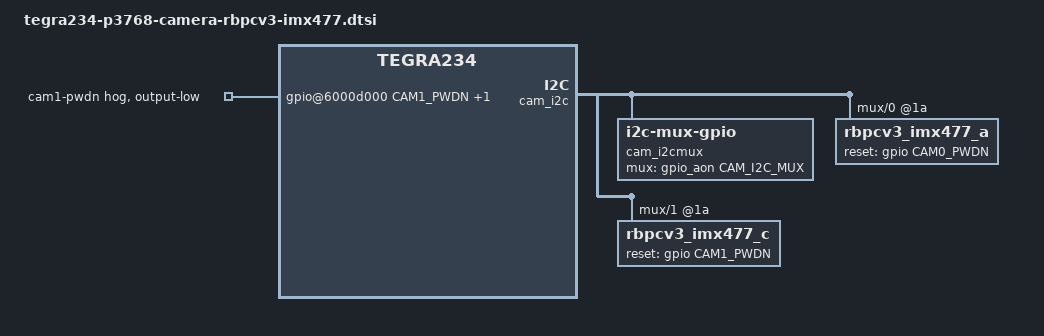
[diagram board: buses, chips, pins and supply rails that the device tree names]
// SPDX-License-Identifier: GPL-2.0-only
// Copyright (c) 2023, NVIDIA CORPORATION & AFFILIATES. All rights reserved.

#include "tegra234-camera-rbpcv3-imx477.dtsi"
#define CAM0_PWDN	TEGRA234_MAIN_GPIO(H, 6)
#define CAM1_PWDN	TEGRA234_MAIN_GPIO(AC, 0)
#define CAM_I2C_MUX 	TEGRA234_AON_GPIO(CC, 3)

/ {
	fragment-camera-imx477@0 {
		target-path = "/";
		__overlay__ {
			bus@0 {
				cam_i2cmux {
					status = "okay";
					compatible = "i2c-mux-gpio";
					#address-cells = <1>;
					#size-cells = <0>;
					mux-gpios = <&gpio_aon CAM_I2C_MUX GPIO_ACTIVE_HIGH>;
					i2c-parent = <&cam_i2c>;
					i2c@0 {
						status = "okay";
						reg = <0>;
						#address-cells = <1>;
						#size-cells = <0>;
						rbpcv3_imx477_a@1a {
							reset-gpios = <&gpio CAM0_PWDN GPIO_ACTIVE_HIGH>;
						};
					};
					i2c@1 {
						status = "okay";
						reg = <1>;
						#address-cells = <1>;
						#size-cells = <0>;
						rbpcv3_imx477_c@1a {
							reset-gpios = <&gpio CAM1_PWDN GPIO_ACTIVE_HIGH>;
						};
					};
				};
				gpio@6000d000 {
					camera-control-output-low {
						gpio-hog;
						output-low;
						gpios = < CAM1_PWDN 0  CAM0_PWDN 0>;
						label = "cam1-pwdn", "cam0-pwdn";
					};
				};
			};
		};
	};
};
